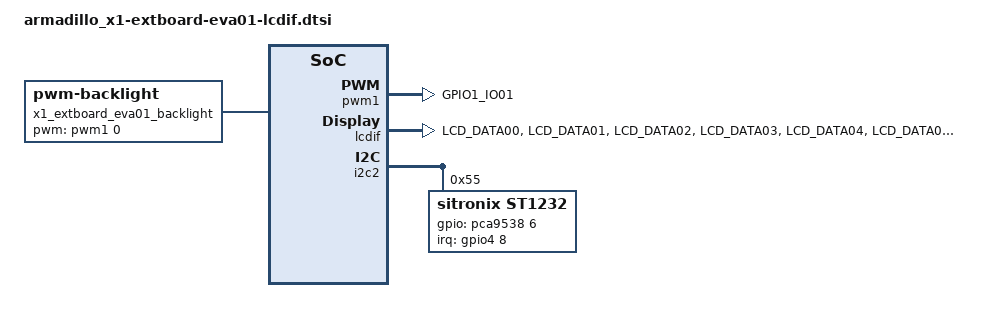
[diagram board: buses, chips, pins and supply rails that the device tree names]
/*
 * Copyright (C) 2018 Atmark Techno, Inc. All Rights Reserved.
 *
 * This program is free software; you can redistribute it and/or modify
 * it under the terms of the GNU General Public License version 2 as
 * published by the Free Software Foundation.
 */

/ {
	x1_extboard_eva01_backlight {
		compatible = "pwm-backlight";
		pwms = <&pwm1 0 5000000 0>;
		brightness-levels = <0 255 224 192 160 128 96 64 32 0>;
		default-brightness-level = <7>;
		status = "okay";
	};
};

&iomuxc {
	x1_extboard_eva01 {
		pinctrl_lcdif_dat: lcdifdatgrp {
			fsl,pins = <
				MX7D_PAD_LCD_DATA00__LCD_DATA0	0x79
				MX7D_PAD_LCD_DATA01__LCD_DATA1	0x79
				MX7D_PAD_LCD_DATA02__LCD_DATA2	0x79
				MX7D_PAD_LCD_DATA03__LCD_DATA3	0x79
				MX7D_PAD_LCD_DATA04__LCD_DATA4	0x79
				MX7D_PAD_LCD_DATA05__LCD_DATA5	0x79
				MX7D_PAD_LCD_DATA06__LCD_DATA6	0x79
				MX7D_PAD_LCD_DATA07__LCD_DATA7	0x79
				MX7D_PAD_LCD_DATA08__LCD_DATA8	0x79
				MX7D_PAD_LCD_DATA09__LCD_DATA9	0x79
				MX7D_PAD_LCD_DATA10__LCD_DATA10	0x79
				MX7D_PAD_LCD_DATA11__LCD_DATA11	0x79
				MX7D_PAD_LCD_DATA12__LCD_DATA12	0x79
				MX7D_PAD_LCD_DATA13__LCD_DATA13	0x79
				MX7D_PAD_LCD_DATA14__LCD_DATA14	0x79
				MX7D_PAD_LCD_DATA15__LCD_DATA15	0x79
				MX7D_PAD_LCD_DATA16__LCD_DATA16	0x79
				MX7D_PAD_LCD_DATA17__LCD_DATA17	0x79
				MX7D_PAD_LCD_DATA18__LCD_DATA18	0x79
				MX7D_PAD_LCD_DATA19__LCD_DATA19	0x79
				MX7D_PAD_LCD_DATA20__LCD_DATA20	0x79
				MX7D_PAD_LCD_DATA21__LCD_DATA21	0x79
				MX7D_PAD_LCD_DATA22__LCD_DATA22	0x79
				MX7D_PAD_LCD_DATA23__LCD_DATA23	0x79
			>;
		};

		pinctrl_lcdif_ctrl: lcdifctrlgrp {
			fsl,pins = <
				MX7D_PAD_LCD_CLK__LCD_CLK	0x79
				MX7D_PAD_LCD_ENABLE__LCD_ENABLE	0x79
				MX7D_PAD_LCD_HSYNC__LCD_HSYNC	0x79
				MX7D_PAD_LCD_VSYNC__LCD_VSYNC	0x79
				MX7D_PAD_LCD_RESET__GPIO3_IO4	0x00
			>;
		};

		pinctrl_st1232: st1232grp {
			fsl,pins = <
				MX7D_PAD_I2C1_SCL__GPIO4_IO8	0x40000007
			>;
		};
	};
};

&iomuxc_lpsr {
	x1_extboard_eva01 {
		pinctrl_pwm1: pwm1grp {
			fsl,pins = <
				MX7D_PAD_GPIO1_IO01__PWM1_OUT	0x00
			>;
		};
	};
};

&pwm1 {
	pinctrl-names = "default";
	pinctrl-0 = <&pinctrl_pwm1>;
	status = "okay";
};

&lcdif {
	pinctrl-names = "default";
	pinctrl-0 = <&pinctrl_lcdif_dat
		     &pinctrl_lcdif_ctrl>;
	pinctrl-assert-gpios = <&gpio3 4 GPIO_ACTIVE_HIGH>;
	display = <&display0>;
	status = "okay";

	display0: g_display {
		bits-per-pixel = <32>;
		bus-width = <24>;

		/* Display timings for AM-800480L1TMQW-T00H */
		display-timings {
			native-mode = <&timing0>;
			timing0: g_timing {
				clock-frequency = <33260000>;
				hactive = <800>;
				vactive = <480>;
				hfront-porch = <88>;
				hback-porch = <40>;
				hsync-len = <128>;
				vfront-porch = <20>;
				vback-porch = <30>;
				vsync-len = <5>;
				hsync-active = <0>;
				vsync-active = <0>;
				de-active = <1>;
				pixelclk-active = <0>;
			};
		};
	};
};

&i2c2 {
	st1232: st1232@55 {
		compatible = "sitronix,st1232";
		reg = <0x55>;
		pinctrl-names = "default";
		pinctrl-0 = <&pinctrl_st1232>;

		interrupt-parent = <&gpio4>;
		interrupts = <8 IRQ_TYPE_LEVEL_LOW>;
		gpios = <&pca9538 6 GPIO_ACTIVE_HIGH>;
	};
};
